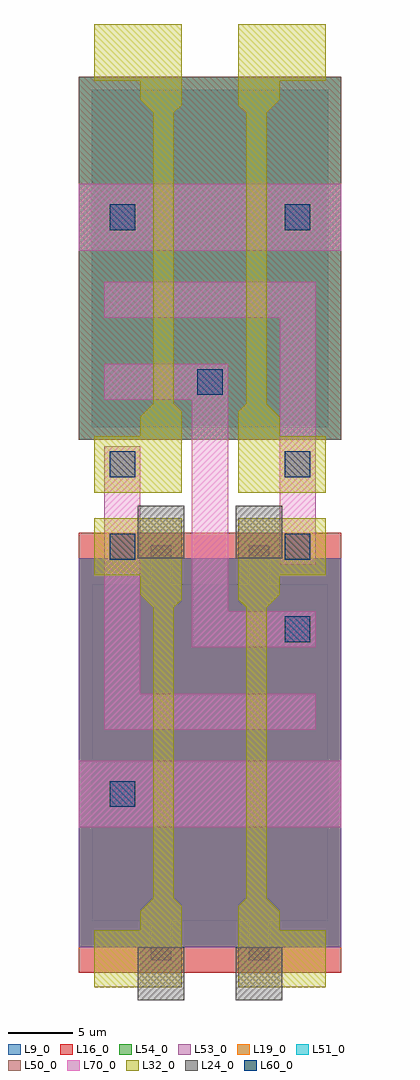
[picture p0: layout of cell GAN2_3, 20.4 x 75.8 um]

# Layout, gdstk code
import gdstk
lib = gdstk.Library(unit=1e-6, precision=1e-09)
def R(c, l, rs):  # rectangles x0, y0, x1, y1
    for r in rs: c.add(gdstk.rectangle(r[:2], r[2:], *l))
def A(c, l, x, y, w, h, nx, ny, dx, dy):  # array of equal rectangles
    R(c, l, [(x+i*dx, y+j*dy, x+i*dx+w, y+j*dy+h) for i in range(nx) for j in range(ny)])
def P(c, l, *ps):  # polygons
    for p in ps: c.add(gdstk.Polygon(p, *l))
L9_0 = (9, 0)
L16_0 = (16, 0)
L19_0 = (19, 0)
L24_0 = (24, 0)
L32_0 = (32, 0)
L50_0 = (50, 0)
L51_0 = (51, 0)
L53_0 = (53, 0)
L54_0 = (54, 0)
L60_0 = (60, 0)
L70_0 = (70, 0)

cell = lib.new_cell('CELL')
R(cell, L9_0, [(-2.4,41.3,16,67.5)])
P(cell, L9_0, [(2.2,2.9),(2.2,-0.1),(3.8,-0.1),(3.8,2.9),(9.8,2.9),(9.8,-0.1),(11.4,-0.1),(11.4,2.9),(16,2.9),(16,29.1),(11.4,29.1),(11.4,32.1),(9.8,32.1),(9.8,29.1),(3.8,29.1),(3.8,32.1),(2.2,32.1),(2.2,29.1),(-2.4,29.1),(-2.4,2.9)])
R(cell, L16_0, [(-3.4,-1.1,17,33.1)])
R(cell, L19_0, [(-3.4,40.3,17,68.5)])
R(cell, L24_0, [(1.2,-3.2,4.8,0.9), (8.8,-3.2,12.4,0.9), (1.2,31.1,4.8,35.2), (8.8,31.1,12.4,35.2)])
P(cell, L32_0, [(9.6,65.7),(9.6,43.1),(9,42.5),(9,36.2),(15.8,36.2),(15.8,40.6),(12.2,40.6),(12.2,42.1),(11.2,43.1),(11.2,65.7),(12.2,66.7),(12.2,68.2),(15.8,68.2),(15.8,72.6),(9,72.6),(9,66.3)],
  [(4.6,-2.2),(4.6,4.1),(4,4.7),(4,27.3),(4.6,27.9),(4.6,34.2),(-2.2,34.2),(-2.2,29.8),(1.4,29.8),(1.4,28.3),(2.4,27.3),(2.4,4.7),(1.4,3.7),(1.4,2.2),(-2.2,2.2),(-2.2,-2.2)],
  [(1.4,68.2),(1.4,66.7),(2.4,65.7),(2.4,43.1),(1.4,42.1),(1.4,40.6),(-2.2,40.6),(-2.2,36.2),(4.6,36.2),(4.6,42.5),(4,43.1),(4,65.7),(4.6,66.3),(4.6,72.6),(-2.2,72.6),(-2.2,68.2)],
  [(15.8,-2.2),(15.8,2.2),(12.2,2.2),(12.2,3.7),(11.2,4.7),(11.2,27.3),(12.2,28.3),(12.2,29.8),(15.8,29.8),(15.8,34.2),(9,34.2),(9,27.9),(9.6,27.3),(9.6,4.7),(9,4.1),(9,-2.2)])
R(cell, L50_0, [(-3.4,40.3,17,68.5)])
R(cell, L51_0, [(-3.4,40.3,17,68.5)])
R(cell, L53_0, [(-3.4,0.9,17,31.1)])
R(cell, L54_0, [(-3.4,0.9,17,31.1)])

gan2 = lib.new_cell('GAN2')
A(gan2, L60_0, 16, 27.8, 2, 2, 1, 3, 0, 6.4)
R(gan2, L60_0, [(2.4,15,4.4,17), (2.4,34.2,4.4,36.2), (2.4,40.6,4.4,42.6), (9.2,47,11.2,49), (2.4,59.8,4.4,61.8), (16,59.8,18,61.8)])
A(gan2, L70_0, 2, 21, 2.8, 2.8, 3, 2, 6.8, 32)
R(gan2, L70_0, [(0,13.4,20.4,18.6), (8.8,27.4,11.6,30.2), (2,46.6,4.8,49.4), (0,58.2,20.4,63.4)])
P(gan2, L70_0, [(11.6,30.2),(11.6,49.4),(2,49.4),(2,46.6),(8.8,46.6),(8.8,27.4),(18.4,27.4),(18.4,30.2)],
  [(2,55.8),(2,53),(15.6,53),(15.6,33.8),(18.4,33.8),(18.4,55.8)],
  [(4.8,23.8),(4.8,43),(2,43),(2,21),(18.4,21),(18.4,23.8)])
gan2.add(gdstk.Label('VCC!', (1.6,60.3), layer=73, texttype=0))
gan2.add(gdstk.Label('B', (9.6,54.1), layer=73, texttype=0))
gan2.add(gdstk.Label('B', (2.8,54.1), layer=73, texttype=0))
gan2.add(gdstk.Label('B', (16.4,54.1), layer=73, texttype=0))
gan2.add(gdstk.Label('Y', (2.6,47.5), layer=73, texttype=0))
gan2.add(gdstk.Label('A', (9.6,22.3), layer=73, texttype=0))
gan2.add(gdstk.Label('A', (2.8,22.1), layer=73, texttype=0))
gan2.add(gdstk.Label('Y', (9.6,28.5), layer=73, texttype=0))
gan2.add(gdstk.Label('A', (16.4,22.3), layer=73, texttype=0))
gan2.add(gdstk.Label('GND!', (1.8,15.7), layer=73, texttype=0))

gan2_3 = lib.new_cell('GAN2_3')
gan2_3.add(gdstk.Reference(cell, (3.4,3.2)))
gan2_3.add(gdstk.Reference(gan2, (0,0)))

lib.write_gds('GAN2_3.gds')
